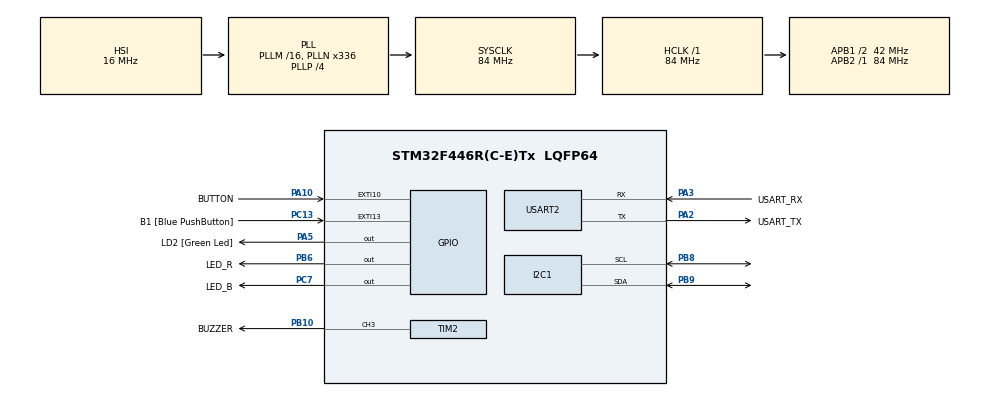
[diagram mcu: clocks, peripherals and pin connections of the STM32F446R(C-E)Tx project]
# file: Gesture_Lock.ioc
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Mcu.Family=STM32F4
Mcu.Name=STM32F446R(C-E)Tx
Mcu.Package=LQFP64
NVIC.EXTI15_10_IRQn=true\:0\:0\:false\:false\:true\:true\:true\:true
NVIC.PriorityGroup=NVIC_PRIORITYGROUP_0
PA10.GPIO_Label=BUTTON
PA10.GPIO_ModeDefaultEXTI=GPIO_MODE_IT_FALLING
PA10.GPIO_PuPd=GPIO_PULLUP
PA10.Signal=GPXTI10
PA13.GPIO_Label=TMS
PA13.Signal=SYS_JTMS-SWDIO
PA14.GPIO_Label=TCK
PA14.Signal=SYS_JTCK-SWCLK
PA2.GPIO_Label=USART_TX
PA2.Mode=Asynchronous
PA2.Signal=USART2_TX
PA3.GPIO_Label=USART_RX
PA3.Mode=Asynchronous
PA3.Signal=USART2_RX
PA5.GPIO_Label=LD2 [Green Led]
PA5.Signal=GPIO_Output
PB10.GPIO_Label=BUZZER
PB10.Signal=S_TIM2_CH3
PB3.GPIO_Label=SWO
PB3.Signal=SYS_JTDO-SWO
PB6.GPIO_Label=LED_R
PB6.Signal=GPIO_Output
PB8.GPIO_Pu=GPIO_PULLUP
PB8.Mode=I2C
PB8.Signal=I2C1_SCL
PB9.GPIO_Pu=GPIO_PULLUP
PB9.Mode=I2C
PB9.Signal=I2C1_SDA
PC13.GPIO_Label=B1 [Blue PushButton]
PC13.GPIO_ModeDefaultEXTI=GPIO_MODE_IT_FALLING
PC13.Signal=GPXTI13
PC14-OSC32_IN.Signal=RCC_OSC32_IN
PC15-OSC32_OUT.Signal=RCC_OSC32_OUT
PC7.GPIO_Label=LED_B
PC7.Signal=GPIO_Output
PH0-OSC_IN.Signal=RCC_OSC_IN
PH1-OSC_OUT.Signal=RCC_OSC_OUT
ProjectManager.HeapSize=0x200
ProjectManager.StackSize=0x400
ProjectManager.TargetToolchain=STM32CubeIDE
RCC.AHBFreq_Value=84000000
RCC.APB1CLKDivider=RCC_HCLK_DIV2
RCC.APB1Freq_Value=42000000
RCC.APB1TimFreq_Value=84000000
RCC.APB2Freq_Value=84000000
RCC.APB2TimFreq_Value=84000000
RCC.CortexFreq_Value=84000000
RCC.FLatency-AdvancedSettings=FLASH_LATENCY_2
RCC.HCLKFreq_Value=84000000
RCC.HSE_VALUE=8000000
RCC.HSI_VALUE=16000000
RCC.LSE_VALUE=32768
RCC.PLLN=336
RCC.PLLP=RCC_PLLP_DIV4
RCC.SYSCLKFreq_VALUE=84000000
RCC.SYSCLKSource=RCC_SYSCLKSOURCE_PLLCLK
RCC.USBFreq_Value=168000000
RCC.VCOOutputFreq_Value=336000000
SH.S_TIM2_CH3.0=TIM2_CH3,PWM Generation3 CH3
TIM2.Channel-PWM\ Generation3\ CH3=TIM_CHANNEL_3
TIM2.Period=499
TIM2.Prescaler=83
TIM2.Pulse-PWM\ Generation3\ CH3=25
USART2.VirtualMode=VM_ASYNC
board=NUCLEO-F446RE

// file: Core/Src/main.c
/* USER CODE BEGIN Header */
/**
  ******************************************************************************
  * @file           : main.c
  * @brief          : Main program body
  ******************************************************************************
  * @attention
  *
  * Copyright (c) 2026 STMicroelectronics.
  * All rights reserved.
  *
  * This software is licensed under terms that can be found in the LICENSE file
  * in the root directory of this software component.
  * If no LICENSE file comes with this software, it is provided AS-IS.
  *
  ******************************************************************************
  */
/* USER CODE END Header */
#include "main.h"

/* USER CODE BEGIN Includes */
#include "main.h"
#include "imu.h"
#include "led.h"
#include "buzzer.h"
#include "password.h"
#include "system_types.h"
#include "lockdisp.h"
#include <stdbool.h>
#include <string.h>

/* USER CODE END Includes */

I2C_HandleTypeDef hi2c1;

TIM_HandleTypeDef htim2;

UART_HandleTypeDef huart2;

/* USER CODE BEGIN PV */
eLOCK_STATE lock_state = eLOCK_STATE_LOCK;
eINPUT_STATE input_state = eINPUT_STATE_INPUT;
static volatile bool button_pressed = false;

/* USER CODE END PV */

void SystemClock_Config(void);
static void MX_GPIO_Init(void);
static void MX_TIM2_Init(void);
static void MX_I2C1_Init(void);
static void MX_USART2_UART_Init(void);

/* USER CODE BEGIN 0 */

#define I2C_SCL_PORT GPIOB
#define I2C_SCL_PIN  GPIO_PIN_8

#define I2C_SDA_PORT GPIOB
#define I2C_SDA_PIN  GPIO_PIN_9
#if 1
static HAL_StatusTypeDef I2C_BusClear(void)
{
    GPIO_InitTypeDef GPIO_InitStruct = {0};

    __HAL_RCC_GPIOB_CLK_ENABLE();

    // Open-drain 출력은 HIGH 설정 시 라인을 해제함
    HAL_GPIO_WritePin(GPIOB,
                      I2C_SCL_PIN | I2C_SDA_PIN,
                      GPIO_PIN_SET);

    GPIO_InitStruct.Pin = I2C_SCL_PIN | I2C_SDA_PIN;
    GPIO_InitStruct.Mode = GPIO_MODE_OUTPUT_OD;
    GPIO_InitStruct.Pull = GPIO_PULLUP;
    GPIO_InitStruct.Speed = GPIO_SPEED_FREQ_LOW;

    HAL_GPIO_Init(GPIOB, &GPIO_InitStruct);

    HAL_Delay(1);

    // SCL이 LOW로 고정되어 있으면 클록 발생 불가
    if (HAL_GPIO_ReadPin(I2C_SCL_PORT,
                         I2C_SCL_PIN) == GPIO_PIN_RESET)
    {
        return HAL_BUSY;
    }

    // SDA가 HIGH이면 이미 버스가 해제된 상태
    if (HAL_GPIO_ReadPin(I2C_SDA_PORT,
                         I2C_SDA_PIN) == GPIO_PIN_SET)
    {
        return HAL_OK;
    }

    // SDA LOW: 최대 9개의 클록 펄스 발생
    for (uint8_t i = 0; i < 9; i++)
    {
        // SCL LOW
        HAL_GPIO_WritePin(I2C_SCL_PORT,
                          I2C_SCL_PIN,
                          GPIO_PIN_RESET);

        HAL_Delay(1);

        // SCL HIGH (Open-drain 출력 해제)
        HAL_GPIO_WritePin(I2C_SCL_PORT,
                          I2C_SCL_PIN,
                          GPIO_PIN_SET);

        HAL_Delay(1);

        // 실제 SCL이 HIGH인지 확인
        if (HAL_GPIO_ReadPin(I2C_SCL_PORT,
                             I2C_SCL_PIN) == GPIO_PIN_RESET)
        {
            return HAL_BUSY;
        }

        // SDA 해제 여부 확인
        if (HAL_GPIO_ReadPin(I2C_SDA_PORT,
                             I2C_SDA_PIN) == GPIO_PIN_SET)
        {
            break;
        }
    }

    // 9회 이후에도 SDA가 LOW이면 복구 실패
    if (HAL_GPIO_ReadPin(I2C_SDA_PORT,
                         I2C_SDA_PIN) == GPIO_PIN_RESET)
    {
        return HAL_ERROR;
    }

    // STOP 조건 생성
    // SCL LOW 상태에서 SDA LOW
    HAL_GPIO_WritePin(I2C_SCL_PORT,
                      I2C_SCL_PIN,
                      GPIO_PIN_RESET);

    HAL_GPIO_WritePin(I2C_SDA_PORT,
                      I2C_SDA_PIN,
                      GPIO_PIN_RESET);

    HAL_Delay(1);

    // SCL HIGH
    HAL_GPIO_WritePin(I2C_SCL_PORT,
                      I2C_SCL_PIN,
                      GPIO_PIN_SET);

    HAL_Delay(1);

    if (HAL_GPIO_ReadPin(I2C_SCL_PORT,
                         I2C_SCL_PIN) == GPIO_PIN_RESET)
    {
        return HAL_BUSY;
    }

    // SCL HIGH에서 SDA LOW -> HIGH: STOP
    HAL_GPIO_WritePin(I2C_SDA_PORT,
                      I2C_SDA_PIN,
                      GPIO_PIN_SET);

    HAL_Delay(1);

    if (HAL_GPIO_ReadPin(I2C_SDA_PORT,
                         I2C_SDA_PIN) == GPIO_PIN_RESET)
    {
        return HAL_ERROR;
    }

    return HAL_OK;
}
#endif

/* USER CODE END 0 */

int main(void)
{

  /* MCU Configuration--------------------------------------------------------*/

  /* Reset of all peripherals, Initializes the Flash interface and the Systick. */
  HAL_Init();

  /* Configure the system clock */
  SystemClock_Config();

  /* Initialize all configured peripherals */
  MX_GPIO_Init();
  MX_TIM2_Init();

#if 1
  // I2C 버스 복구
  HAL_StatusTypeDef bus_status = I2C_BusClear();

  if (bus_status != HAL_OK)
  {
      Error_Handler();
  }
#endif

  // GPIO를 I2C Alternate Function으로 재설정
  MX_I2C1_Init();
  MX_USART2_UART_Init();
  /* USER CODE BEGIN 2 */

  // 비밀번호 초기화
  Password_ResetInput();

  // 하드웨어 모듈 초기화
  Buzzer_Init();

  if (!IMU_Init())
  {
      Error_Handler();
  }

  if (!LockDisp_Init())
  {
      Error_Handler();
  }

  LockDisp_UpdateLock();
  LockDisp_UpdateInput();

  // LED 초기 상태 표시
  LED_SetState(lock_state);

  /* USER CODE END 2 */

  /* Infinite loop */
  /* USER CODE BEGIN WHILE */
  while (1)
  {
	  Buzzer_Update();
	    // 1. 버튼 입력 처리
	    if (button_pressed)
	    {
	        button_pressed = false;
	        Buzzer_Stop();

	        // 잠금 상태: 비밀번호 검증
	        if (lock_state == eLOCK_STATE_LOCK)
	        {
	        	if (input_state == eINPUT_STATE_INPUT){
					if (Password_Check())
					{
						// 비밀번호 검증 성공
						lock_state = eLOCK_STATE_UNLOCK;
						input_state = eINPUT_STATE_SUCCESS;

						LED_SetState(lock_state);

						LockDisp_UpdateLock();
						LockDisp_UpdateInput();

						Buzzer_On(eINPUT_STATE_SUCCESS);
					}
					else
					{
						// 비밀번호 검증 실패
						input_state = eINPUT_STATE_FAILED;

						LockDisp_UpdateInput();
						Buzzer_On(eINPUT_STATE_FAILED);
					}

					// 검증 완료 후 기존 입력 제거
					Password_ResetInput();
				}
	        	else if (input_state == eINPUT_STATE_FAILED)
	        	{
	        	     // 버튼을 다시 누르면 재입력 시작
	        		 Password_ResetInput();
	        	     IMU_ResetGesture();

	        	     input_state = eINPUT_STATE_INPUT;
	        	     LockDisp_UpdateInput();
	        	 }
	        }

	        // 잠금 해제 상태: 다시 잠금
	        else if (lock_state == eLOCK_STATE_UNLOCK)
	        {
	            lock_state = eLOCK_STATE_LOCK;
	            input_state = eINPUT_STATE_INPUT;

	            Password_ResetInput();
	            IMU_ResetGesture();

	            LED_SetState(lock_state);

	            LockDisp_UpdateLock();
	            LockDisp_UpdateInput();
	        }
	    }

	    // 2. 잠금 상태에서만 IMU 입력 처리
	    if (lock_state == eLOCK_STATE_LOCK && input_state == eINPUT_STATE_INPUT)
	    {
	        eIMU_INPUT_DIRECT gesture;

	        if (IMU_Update(&gesture))
	        {
	            if (Password_AddInput(gesture))
	            {
	            	Buzzer_On(eINPUT_STATE_INPUT);

	                switch (gesture)
	                {
	                    case eIMU_INPUT_DIRECT_L:
	                    	LockDisp_NextInput("<-", 2);
	                        break;

	                    case eIMU_INPUT_DIRECT_R:
	                    	LockDisp_NextInput("->", 2);
	                        break;

	                    default:
	                        break;
	                }

	            }
	        }
	    }

	    HAL_Delay(10);

    /* USER CODE END WHILE */

  }
}

void SystemClock_Config(void)
{
  RCC_OscInitTypeDef RCC_OscInitStruct = {0};
  RCC_ClkInitTypeDef RCC_ClkInitStruct = {0};

  /** Configure the main internal regulator output voltage
  */
  __HAL_RCC_PWR_CLK_ENABLE();
  __HAL_PWR_VOLTAGESCALING_CONFIG(PWR_REGULATOR_VOLTAGE_SCALE3);

  /** Initializes the RCC Oscillators according to the specified parameters
  * in the RCC_OscInitTypeDef structure.
  */
  RCC_OscInitStruct.OscillatorType = RCC_OSCILLATORTYPE_HSI;
  RCC_OscInitStruct.HSIState = RCC_HSI_ON;
  RCC_OscInitStruct.HSICalibrationValue = RCC_HSICALIBRATION_DEFAULT;
  RCC_OscInitStruct.PLL.PLLState = RCC_PLL_ON;
  RCC_OscInitStruct.PLL.PLLSource = RCC_PLLSOURCE_HSI;
  RCC_OscInitStruct.PLL.PLLM = 16;
  RCC_OscInitStruct.PLL.PLLN = 336;
  RCC_OscInitStruct.PLL.PLLP = RCC_PLLP_DIV4;
  RCC_OscInitStruct.PLL.PLLQ = 2;
  RCC_OscInitStruct.PLL.PLLR = 2;
  if (HAL_RCC_OscConfig(&RCC_OscInitStruct) != HAL_OK)
  {
    Error_Handler();
  }

  /** Initializes the CPU, AHB and APB buses clocks
  */
  RCC_ClkInitStruct.ClockType = RCC_CLOCKTYPE_HCLK|RCC_CLOCKTYPE_SYSCLK
                              |RCC_CLOCKTYPE_PCLK1|RCC_CLOCKTYPE_PCLK2;
  RCC_ClkInitStruct.SYSCLKSource = RCC_SYSCLKSOURCE_PLLCLK;
  RCC_ClkInitStruct.AHBCLKDivider = RCC_SYSCLK_DIV1;
  RCC_ClkInitStruct.APB1CLKDivider = RCC_HCLK_DIV2;
  RCC_ClkInitStruct.APB2CLKDivider = RCC_HCLK_DIV1;

  if (HAL_RCC_ClockConfig(&RCC_ClkInitStruct, FLASH_LATENCY_2) != HAL_OK)
  {
    Error_Handler();
  }
}

static void MX_I2C1_Init(void)
{

  hi2c1.Instance = I2C1;
  hi2c1.Init.ClockSpeed = 100000;
  hi2c1.Init.DutyCycle = I2C_DUTYCYCLE_2;
  hi2c1.Init.OwnAddress1 = 0;
  hi2c1.Init.AddressingMode = I2C_ADDRESSINGMODE_7BIT;
  hi2c1.Init.DualAddressMode = I2C_DUALADDRESS_DISABLE;
  hi2c1.Init.OwnAddress2 = 0;
  hi2c1.Init.GeneralCallMode = I2C_GENERALCALL_DISABLE;
  hi2c1.Init.NoStretchMode = I2C_NOSTRETCH_DISABLE;
  if (HAL_I2C_Init(&hi2c1) != HAL_OK)
  {
    Error_Handler();
  }

}

static void MX_TIM2_Init(void)
{

  TIM_MasterConfigTypeDef sMasterConfig = {0};
  TIM_OC_InitTypeDef sConfigOC = {0};

  htim2.Instance = TIM2;
  htim2.Init.Prescaler = 83;
  htim2.Init.CounterMode = TIM_COUNTERMODE_UP;
  htim2.Init.Period = 499;
  htim2.Init.ClockDivision = TIM_CLOCKDIVISION_DIV1;
  htim2.Init.AutoReloadPreload = TIM_AUTORELOAD_PRELOAD_DISABLE;
  if (HAL_TIM_PWM_Init(&htim2) != HAL_OK)
  {
    Error_Handler();
  }
  sMasterConfig.MasterOutputTrigger = TIM_TRGO_RESET;
  sMasterConfig.MasterSlaveMode = TIM_MASTERSLAVEMODE_DISABLE;
  if (HAL_TIMEx_MasterConfigSynchronization(&htim2, &sMasterConfig) != HAL_OK)
  {
    Error_Handler();
  }
  sConfigOC.OCMode = TIM_OCMODE_PWM1;
  sConfigOC.Pulse = 25;
  sConfigOC.OCPolarity = TIM_OCPOLARITY_HIGH;
  sConfigOC.OCFastMode = TIM_OCFAST_DISABLE;
  if (HAL_TIM_PWM_ConfigChannel(&htim2, &sConfigOC, TIM_CHANNEL_3) != HAL_OK)
  {
    Error_Handler();
  }
  HAL_TIM_MspPostInit(&htim2);

}

static void MX_USART2_UART_Init(void)
{

  huart2.Instance = USART2;
  huart2.Init.BaudRate = 115200;
  huart2.Init.WordLength = UART_WORDLENGTH_8B;
  huart2.Init.StopBits = UART_STOPBITS_1;
  huart2.Init.Parity = UART_PARITY_NONE;
  huart2.Init.Mode = UART_MODE_TX_RX;
  huart2.Init.HwFlowCtl = UART_HWCONTROL_NONE;
  huart2.Init.OverSampling = UART_OVERSAMPLING_16;
  if (HAL_UART_Init(&huart2) != HAL_OK)
  {
    Error_Handler();
  }

}

static void MX_GPIO_Init(void)
{
  GPIO_InitTypeDef GPIO_InitStruct = {0};

  /* GPIO Ports Clock Enable */
  __HAL_RCC_GPIOC_CLK_ENABLE();
  __HAL_RCC_GPIOH_CLK_ENABLE();
  __HAL_RCC_GPIOA_CLK_ENABLE();
  __HAL_RCC_GPIOB_CLK_ENABLE();

  /*Configure GPIO pin Output Level */
  HAL_GPIO_WritePin(LD2_GPIO_Port, LD2_Pin, GPIO_PIN_RESET);

  /*Configure GPIO pin Output Level */
  HAL_GPIO_WritePin(LED_B_GPIO_Port, LED_B_Pin, GPIO_PIN_RESET);

  /*Configure GPIO pin Output Level */
  HAL_GPIO_WritePin(LED_R_GPIO_Port, LED_R_Pin, GPIO_PIN_RESET);

  /*Configure GPIO pin : B1_Pin */
  GPIO_InitStruct.Pin = B1_Pin;
  GPIO_InitStruct.Mode = GPIO_MODE_IT_FALLING;
  GPIO_InitStruct.Pull = GPIO_NOPULL;
  HAL_GPIO_Init(B1_GPIO_Port, &GPIO_InitStruct);

  /*Configure GPIO pin : LD2_Pin */
  GPIO_InitStruct.Pin = LD2_Pin;
  GPIO_InitStruct.Mode = GPIO_MODE_OUTPUT_PP;
  GPIO_InitStruct.Pull = GPIO_NOPULL;
  GPIO_InitStruct.Speed = GPIO_SPEED_FREQ_LOW;
  HAL_GPIO_Init(LD2_GPIO_Port, &GPIO_InitStruct);

  /*Configure GPIO pin : LED_B_Pin */
  GPIO_InitStruct.Pin = LED_B_Pin;
  GPIO_InitStruct.Mode = GPIO_MODE_OUTPUT_PP;
  GPIO_InitStruct.Pull = GPIO_NOPULL;
  GPIO_InitStruct.Speed = GPIO_SPEED_FREQ_LOW;
  HAL_GPIO_Init(LED_B_GPIO_Port, &GPIO_InitStruct);

  /*Configure GPIO pin : BUTTON_Pin */
  GPIO_InitStruct.Pin = BUTTON_Pin;
  GPIO_InitStruct.Mode = GPIO_MODE_IT_FALLING;
  GPIO_InitStruct.Pull = GPIO_PULLUP;
  HAL_GPIO_Init(BUTTON_GPIO_Port, &GPIO_InitStruct);

  /*Configure GPIO pin : LED_R_Pin */
  GPIO_InitStruct.Pin = LED_R_Pin;
  GPIO_InitStruct.Mode = GPIO_MODE_OUTPUT_PP;
  GPIO_InitStruct.Pull = GPIO_NOPULL;
  GPIO_InitStruct.Speed = GPIO_SPEED_FREQ_LOW;
  HAL_GPIO_Init(LED_R_GPIO_Port, &GPIO_InitStruct);

  /* EXTI interrupt init*/
  HAL_NVIC_SetPriority(EXTI15_10_IRQn, 0, 0);
  HAL_NVIC_EnableIRQ(EXTI15_10_IRQn);

}

/* USER CODE BEGIN 4 */
void HAL_GPIO_EXTI_Callback(uint16_t GPIO_Pin)
{
    if (GPIO_Pin == BUTTON_Pin)
    {
    	button_pressed = true;
    }
}
/* USER CODE END 4 */

void Error_Handler(void)
{
  __disable_irq();
  while (1)
  {
  }
}
